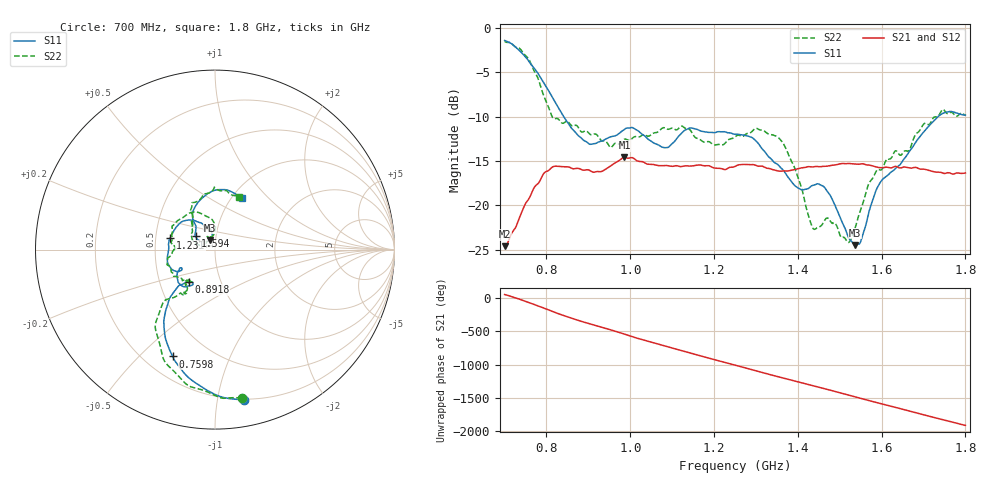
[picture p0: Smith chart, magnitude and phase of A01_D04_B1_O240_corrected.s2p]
! Created with skrf 1.9.0 (http://scikit-rf.org).
# Hz S RI R 50.0
!freq ReS11 ImS11 ReS21 ImS21 ReS12 ImS12 ReS22 ImS22
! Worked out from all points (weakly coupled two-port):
!   1601 points, 700 MHz to 1.8 GHz, reference 50 ohm
!   highest |S21| = -14.57 dB at 986 MHz (marker M1); lowest = -24.6 dB at 701.4 MHz (marker M2)
!   lowest |S11| = -24.5 dB at 1.537 GHz (marker M3), VSWR 1.13, Z = 47.1 + j5.03 ohm
!   |S11| at or under -10 dB: 841.3 MHz to 1.734 GHz (892.9 MHz wide, 69.3 % of centre)
!   |S22| runs from -24.2 to -1.5 dB; largest |S21 - S12| = 0.0034
!   S11 on the Smith chart (normalised r, x): 700 MHz: 0.19, -1.19; 759.8 MHz: 0.31, -0.63; 891.8 MHz: 0.70, -0.27; 1.231 GHz: 0.60, +0.08; 1.594 GHz: 0.80, +0.12; 1.8 GHz: 1.12, +0.71
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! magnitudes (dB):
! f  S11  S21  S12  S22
! 700 MHz  -1.4  -24.6  -24.4  -1.5
! 701.4 MHz  -1.4  -24.6  -24.2  -1.5
! 759.8 MHz  -3.9  -19.1  -18.9  -3.7
! 814.8 MHz  -7.9  -15.6  -15.7  -10.1
! 883.6 MHz  -12.4  -16.0  -15.8  -11.7
! 891.8 MHz  -12.7  -16.0  -16.0  -11.6
! 986 MHz  -11.4  -14.6  -14.7  -12.5
! 1.067 GHz  -13.2  -15.5  -15.4  -11.7
! 1.142 GHz  -11.3  -15.6  -15.5  -11.5
! 1.231 GHz  -11.8  -15.9  -15.8  -12.7
! 1.25 GHz  -12.0  -15.6  -15.5  -12.3
! 1.359 GHz  -15.7  -16.1  -16.1  -12.6
! 1.396 GHz  -17.9  -15.9  -15.9  -16.2
! 1.434 GHz  -17.8  -15.7  -15.6  -22.3
! 1.468 GHz  -18.2  -15.6  -15.6  -21.4
! 1.52 GHz  -23.5  -15.3  -15.3  -24.1
! 1.537 GHz  -24.5  -15.3  -15.3  -22.5
! 1.568 GHz  -21.0  -15.4  -15.4  -17.7
! 1.594 GHz  -17.6  -15.7  -15.7  -15.9
! 1.617 GHz  -16.5  -15.7  -15.7  -14.8
! 1.738 GHz  -9.8  -16.2  -16.3  -9.7
! 1.8 GHz  -9.8  -16.3  -16.3  -9.8
